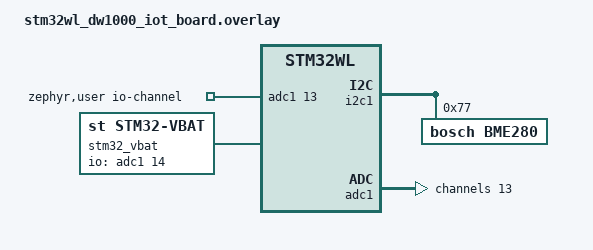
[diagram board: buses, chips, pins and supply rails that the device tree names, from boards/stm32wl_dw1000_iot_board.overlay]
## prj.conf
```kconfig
# Debugger support
CONFIG_UART_CONSOLE=y
CONFIG_CONSOLE=y

# Communication Bus Support
CONFIG_GPIO=y
CONFIG_SPI=y
CONFIG_I2C=y

# Hardware Support
CONFIG_ADC=y
CONFIG_SENSOR=y

# Counter RTC Support
CONFIG_COUNTER=y
CONFIG_HEAP_MEM_POOL_SIZE=256
CONFIG_COUNTER_RTC_STM32_SAVE_VALUE_BETWEEN_RESETS=y
CONFIG_COUNTER_RTC_STM32=y
CONFIG_COUNTER_RTC_STM32_CLOCK_LSE=y
CONFIG_COUNTER_RTC_STM32_CLOCK_LSI=n
CONFIG_POSIX_CLOCK=y

# LoRa Support
CONFIG_LORA=y

# LoraWAN Support
CONFIG_LORAWAN=y
CONFIG_LORAMAC_REGION_EU868=y
CONFIG_LORAWAN_APP_CLOCK_SYNC=y
CONFIG_LORAWAN_SERVICES=y
CONFIG_TEST_RANDOM_GENERATOR=y

# Stack Support
CONFIG_MAIN_STACK_SIZE=2048
CONFIG_SYSTEM_WORKQUEUE_STACK_SIZE=2048

# Flash Memory NVS Support
CONFIG_NVS=y
CONFIG_FLASH=y
CONFIG_FLASH_PAGE_LAYOUT=y
CONFIG_MPU_ALLOW_FLASH_WRITE=y
CONFIG_REBOOT=y
```

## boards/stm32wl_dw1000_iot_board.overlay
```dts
/*
 * Copyright (c) 2023
 * Regis Rousseau
 * Univ Lyon, INSA Lyon, Inria, CITI, EA3720
 * SPDX-License-Identifier: Apache-2.0
 */

/* configuration of ADC for geophone sensor */
/* adjust channel number according to pinmux in board.dts */
/* see datasheet Pinout Config pg 56/149 */
/* PB13 ADC_GSONE -> ADC_IN0 */

/ {
	zephyr,user {
		io-channels = <&adc1 13>;
		io-channels-names = "SENSOR";
	};

	aliases {
		rtc = &rtc;
	};

/* VBAT battery voltage monitoring */
/* internal ADC channnel of STM32, Px14 - see datasheet ADC part pg 42/149 */

	stm32_vbat: stm32vbat {
    compatible = "st,stm32-vbat";
    io-channels = <&adc1 14>;
    ratio = <3>;
    status = "okay";
	};
};

/* config of BME280 sensor (temperature and Humidity) on i2c bus */
/* address 0x77 --> Address Chip Select on high level (VDD) */

&i2c1 {
	status = "okay";
	bme280@77 {
		compatible = "bosch,bme280";
		reg = <0x77>;
	};
};

&adc1 {
	#address-cells = <1>;
	#size-cells = <0>;

	vref-mv = <3300>;
	status = "okay";
	channel@13 {
		reg = <13>;
		zephyr,gain = "ADC_GAIN_1";
		zephyr,reference = "ADC_REF_INTERNAL";
		zephyr,acquisition-time = <ADC_ACQ_TIME_DEFAULT>;
		zephyr,resolution = <12>;
	};
};
```

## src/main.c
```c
/*
 * Copyright (c) 2023
 * Regis Rousseau
 * Univ Lyon, INSA Lyon, Inria, CITI, EA3720
 * SPDX-License-Identifier: Apache-2.0
 */
 

#include <zephyr/device.h>
#include <zephyr/kernel.h>
#include <zephyr/logging/log.h>
#include <stdio.h>

#include "app_bme280.h"
#include "app_nvs.h"
#include "app_rtc.h"
#include "app_adc.h"
#include "app_vbat.h"
#include "app_lorawan.h"

void rtc_work_handler(struct k_work *work_rtc)
{
	printk("RTC handler called\n");

	const struct device *bme280_dev = NULL;
	const struct device *bat_dev = NULL;
	const struct device *timer_rtc_dev = NULL;

	app_rtc_handler(timer_rtc_dev);
	//app_bme280_handler(bme280_dev);
	//app_vbat_handler(bat_dev);
}
K_WORK_DEFINE(rtc_work, rtc_work_handler);

void rtc_timer_handler(struct k_timer *rtc_dum)
{
	k_work_submit(&rtc_work);
}
K_TIMER_DEFINE(rtc_timer, rtc_timer_handler, NULL);

void adc_work_handler(struct k_work *work_adc)
{
	printk("ADC handler called\n");
	uint16_t raw_val = app_adc_handler();
	uint8_t payload[2];

	payload[0] = raw_val >> 8;
	payload[1] = raw_val;
	
	printk("- MSB payload: %d, LSB payload: %d\n", payload[0], payload[1]);
}
K_WORK_DEFINE(adc_work, adc_work_handler);

void adc_timer_handler(struct k_timer *adc_dum)
{
    k_work_submit(&adc_work);
}
K_TIMER_DEFINE(adc_timer, adc_timer_handler, NULL);

int main(void)
{
	static struct nvs_fs fs;
	const struct device *bme280_dev = NULL;
	const struct device *bat_dev = NULL;
	const struct device *timer_rtc_dev = NULL;
	const struct device *lora_dev = NULL;

	time_t get_time;

	app_lorawan_init(lora_dev);
	app_nvs_init(&fs);
	app_rtc_init(timer_rtc_dev);
	app_bme280_init(bme280_dev);
	app_vbat_init(bat_dev);
	app_adc_init();
	printk("\n");
	
	get_time = app_lorawan_get_time(lora_dev);
	printk("\n");

	//k_timer_start(&rtc_timer, K_MSEC(1000), K_MSEC(1000));
	//k_timer_start(&adc_timer, K_MSEC(1000), K_MSEC(1000));
	return 0;
}
```

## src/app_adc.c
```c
/*
 * Copyright (c) 2023
 * Regis Rousseau
 * Univ Lyon, INSA Lyon, Inria, CITI, EA3720
 * SPDX-License-Identifier: Apache-2.0
 */

#include "app_adc.h"

uint16_t sp_buf_ch13;

static const struct adc_dt_spec adc_channels[] = {
	DT_FOREACH_PROP_ELEM(DT_PATH(zephyr_user), io_channels, DT_SPEC_AND_COMMA)
};

struct adc_sequence adc_ch13_seq = {
	.buffer 		= &sp_buf_ch13,
	.buffer_size	= sizeof(sp_buf_ch13),
};

int8_t app_adc_init(void)
{
	int8_t i = 0;

	if (!device_is_ready(adc_channels[i].dev)) {
		printk("ADC controller device %s not ready\n", adc_channels[i].dev->name);
		return 0;
	}
	printk("- found device: \"%s\", getting analog data\n", adc_channels[i].dev->name);
	return 0;
}

uint16_t app_adc_handler(void)
{
	int8_t err;
	int8_t i = 0;

	err = adc_channel_setup_dt(&adc_channels[i]);
	if (err < 0) {
		printk("could not setup channel %d. error: %d\n", i, err);
		return 0;
	}
	printk("- %s, channel %d: ", adc_channels[i].dev->name, adc_channels[i].channel_id);

	(void)adc_sequence_init_dt(&adc_channels[i], &adc_ch13_seq);
	err = adc_read(adc_channels[i].dev, &adc_ch13_seq);
	printk("%d", sp_buf_ch13);

	err = adc_raw_to_millivolts_dt(&adc_channels[i], &sp_buf_ch13);
	printk(" = %d mV\n", sp_buf_ch13);
	return sp_buf_ch13;
}
```

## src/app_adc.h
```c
/*
 * Copyright (c) 2023
 * Regis Rousseau
 * Univ Lyon, INSA Lyon, Inria, CITI, EA3720
 * SPDX-License-Identifier: Apache-2.0
 */

#ifndef APP_SENSOR_H
#define APP_SENSOR_H

#include <zephyr/kernel.h>
#include <zephyr/device.h>
#include <zephyr/devicetree.h>
#include <zephyr/drivers/adc.h>

#define DT_SPEC_AND_COMMA(node_id, prop, idx)   ADC_DT_SPEC_GET_BY_IDX(node_id, idx)

int8_t app_adc_init();
uint16_t app_adc_handler();
void adc_work_handler(struct k_work *work_adc);

#endif /* APP_SENSOR_H */
```

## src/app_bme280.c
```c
/*
 * Copyright (c) 2023
 * Regis Rousseau
 * Univ Lyon, INSA Lyon, Inria, CITI, EA3720
 * SPDX-License-Identifier: Apache-2.0
 */

 #include "app_bme280.h"
 #include "app_nvs.h"

int8_t app_bme280_init(const struct device *dev)
{
    dev = DEVICE_DT_GET_ANY(bosch_bme280);
    if (dev == NULL) {
        printk("error: no bme280 device found\n");
		return 0;
	}

    if (!device_is_ready(dev)) {
		printk("error: bme280 is not ready\n");
		return 0;
	}
    printk("- found device: \"%s\", getting bme280 data\n", dev->name);
    return 0;
}

int8_t app_bme280_handler(const struct device *dev)
{
    static struct nvs_fs fs;
    struct sensor_value temp;
    struct sensor_value hum;
    int8_t ret;

    dev = DEVICE_DT_GET_ANY(bosch_bme280);

	ret = sensor_sample_fetch(dev);
    if (ret < 0 && ret != -EBADMSG) { 
	    printk("bme280 device sample is not up to date. error: %d\n", ret);
	    return 0;
    }

	ret = sensor_channel_get(dev, SENSOR_CHAN_AMBIENT_TEMP, &temp);
    if (ret < 0) {
        printk("can't read sensor channels. error: %d\n", ret);
	    return 0;
    }
    //nvs_write(&fs, BME280_TEMP_ID, &temp, sizeof(temp));

	ret = sensor_channel_get(dev, SENSOR_CHAN_HUMIDITY, &hum);
    if (ret < 0) {
        printk("can't read sensor channels. error: %d\n", ret);
	    return 0;
    }
    //nvs_write(&fs, BME280_HUM_ID, &hum, sizeof(hum));
    printk("- temp: %d.%2d degC; hum: %d.%2d percent\n", temp.val1, temp.val2, hum.val1, hum.val2);
    return 0;
}
```

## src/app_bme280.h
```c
/*
 * Copyright (c) 2023
 * Regis Rousseau
 * Univ Lyon, INSA Lyon, Inria, CITI, EA3720
 * SPDX-License-Identifier: Apache-2.0
 */

#ifndef APP_BME280_H
#define APP_BME280_H

#include <zephyr/kernel.h>
#include <zephyr/device.h>
#include <zephyr/devicetree.h>
#include <zephyr/drivers/sensor.h>

int8_t app_bme280_init(const struct device *dev);
int8_t app_bme280_handler(const struct device *dev);

#endif /* APP_BME280_H */
```

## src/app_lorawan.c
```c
/*
 * Copyright (c) 2023
 * Regis Rousseau
 * Univ Lyon, INSA Lyon, Inria, CITI, EA3720
 * SPDX-License-Identifier: Apache-2.0
 */

#include "app_lorawan.h"
#include "app_nvs.h"


// downlink callback
static void dl_callback(uint8_t port, bool data_pending, int16_t rssi, int8_t snr, uint8_t len, const uint8_t *data)
{
	printk("port: %d, pending: %d, RSSI: %ddB, SNR: %dBm\n", port, data_pending, rssi, snr);
}

// ADR change callback
static void lorwan_datarate_changed(enum lorawan_datarate dr)
{
	uint8_t unused, max_size;

	lorawan_get_payload_sizes(&unused, &max_size);
	printk("new datarate: DR_%d, max payload: %d\n", dr, max_size);
}

uint8_t app_lorawan_init(const struct device *dev)
{
    static struct nvs_fs fs;
	
	struct lorawan_join_config join_cfg;
	uint16_t dev_nonce = 0;
	uint32_t random = 0;

	uint8_t dev_eui[] = LORAWAN_DEV_EUI;
	uint8_t join_eui[] = LORAWAN_JOIN_EUI;
	uint8_t app_key[] = LORAWAN_APP_KEY;

    int8_t ret = 0;
    ssize_t err = 0;
	int8_t itr = 1;

    app_nvs_init(&fs);
	app_nvs_init_param(&fs, NVS_DEVNONCE_ID, &dev_nonce);
	
	printk("starting Loarawan node\n");
	dev = DEVICE_DT_GET(DT_ALIAS(lora0));
	if (!device_is_ready(dev)) {
		printk("%s: device not ready\n", dev->name);
		return 0;
	}

	printk("starting Lorawan stack\n");
	ret = lorawan_start();
	if (ret < 0) {
		printk("lorawan_start failed. error: %d\n", ret);
		return 0;
	}

	// enable ADR
    lorawan_enable_adr(true);

	// enable callbacks
	struct lorawan_downlink_cb downlink_cb = {
		.port = LW_RECV_PORT_ANY,
		.cb = dl_callback
	};
	lorawan_register_downlink_callback(&downlink_cb);
	lorawan_register_dr_changed_callback(lorwan_datarate_changed);

	//random = sys_rand32_get();
	//dev_nonce = random & 0x0000FFFF;

	join_cfg.mode = LORAWAN_ACT_OTAA;
	join_cfg.dev_eui = dev_eui;
	join_cfg.otaa.join_eui = join_eui;
	join_cfg.otaa.app_key = app_key;
	join_cfg.otaa.nwk_key = app_key;
	join_cfg.otaa.dev_nonce = dev_nonce;

	do {
		printk("joining network using OTAA, dev nonce %d, attempt %d\n", join_cfg.otaa.dev_nonce, itr++);
		ret = lorawan_join(&join_cfg);
		if (ret < 0) {
			if ((ret =-ETIMEDOUT)) {
				printk("timed-out waiting for response.\n");
			} else {
				printk("join failed. error: %d\n", ret);
			}
		} else {
			printk("join successful.\n");
		}

		dev_nonce++;
		//random = sys_rand32_get();
		//dev_nonce = random & 0x0000FFFF;
		join_cfg.otaa.dev_nonce = dev_nonce;

		// save value away in Non-Volatile Storage.
		err = nvs_write(&fs, NVS_DEVNONCE_ID, &dev_nonce, sizeof(dev_nonce));
		if (err < 0) {
			printk("NVS: failed to write id %d (%d)\n", NVS_DEVNONCE_ID, err);
		}

		if (ret < 0) {
			// If failed, wait before re-trying.
			k_sleep(K_MSEC(5000));
		}
	} while (ret != 0);
    return 0;
}

time_t app_lorawan_get_time(const struct device *dev)
{
    int8_t ret;

    uint32_t gps_time;
	time_t unix_time;
	struct tm timeinfo;
    char buf[32];
    
    dev = DEVICE_DT_GET(DT_ALIAS(lora0));
	if (!device_is_ready(dev)) {
		printk("%s: device not ready\n", dev->name);
		return 0;
	}

    ret = lorawan_start();
	if (ret < 0) {
		printk("lorawan_start failed. error: %d\n", ret);
		return 0;
	}

    lorawan_clock_sync_run();
    ret = lorawan_clock_sync_get(&gps_time);
	if (ret != 0) { 
			printk("lorawan_clock_sync_get failed. error: %d\n", ret);
		} else {
			/* 
			 * The difference in time between UNIX (epoch Jan 1st 1970) and
			 * GPS (epoch Jan 6th 1980) is 315964800 seconds. This is a bit
			 * of a fudge as it doesn't take into account leap seconds and 
			 * hence is out by roughly 18 seconds. 
			 *
			 */
			unix_time = gps_time - 315964800;
			localtime_r(&unix_time, &timeinfo);
			strftime(buf, sizeof(buf), "%A %B %d %Y %I:%M:%S %p %Z", &timeinfo);
			printk("GPS Time: %lu, UTC Time: %s", gps_time, buf);
		}
    return unix_time;
}
```

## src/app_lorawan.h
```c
/*
 * Copyright (c) 2023
 * Regis Rousseau
 * Univ Lyon, INSA Lyon, Inria, CITI, EA3720
 * SPDX-License-Identifier: Apache-2.0
 */

#ifndef APP_LORAWAN__H
#define APP_LORAWAN__H

#include <zephyr/device.h>
#include <zephyr/kernel.h>

#include <zephyr/random/rand32.h>
#include <zephyr/lorawan/lorawan.h>

#include <time.h>

/* customize based on network configuration */
/* put this parameters in TTN application */

#define LORAWAN_DEV_EUI			{ 0x70, 0xB3, 0xD5, 0x7E, 0xD0, 0x06, 0x21, 0xA5 }
#define LORAWAN_JOIN_EUI		{ 0x00, 0x00, 0x00, 0x00, 0x00, 0x00, 0x00, 0x00 }
#define LORAWAN_APP_KEY			{ 0xC7, 0x32, 0x0F, 0x37, 0xFF, 0x62, 0xE0, 0xA8, 0x4E, 0x94, 0xC1, 0x9C, 0x27, 0x2B, 0xFA, 0x4C }

uint8_t app_lorawan_init(const struct device *dev);
time_t app_lorawan_get_time(const struct device *dev);

#endif /* APP_LORAWAN__H */
```

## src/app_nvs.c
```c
/*
 * Copyright (c) 2023
 * Regis Rousseau
 * Univ Lyon, INSA Lyon, Inria, CITI, EA3720
 * SPDX-License-Identifier: Apache-2.0
 */

#include "app_nvs.h"

int8_t app_nvs_init(struct nvs_fs *fs)
{
	struct flash_pages_info info;
	int ret;

	fs->flash_device = NVS_PARTITION_DEVICE;
	if (!device_is_ready(fs->flash_device)) {
		printk("flash device %s is not ready\n", fs->flash_device->name);
		return 0;
	}

	fs->offset = NVS_PARTITION_OFFSET;
	ret = flash_get_page_info_by_offs(fs->flash_device, fs->offset, &info);
	if (ret) {
		printk("unable to get page info. error: %d\n", ret);
		return 0;
	}

	fs->sector_size = info.size;
	if (!fs->sector_size || fs->sector_size % info.size) {
		printk("invalid sector size\n");
		return -EINVAL;
	}

	fs->sector_count = 2U;
	ret = nvs_mount(fs);
	if (ret) {
		printk("flash init failed. error: %d\n", ret);
		return 0;
	}

#ifdef NVS_CLEAR
	ret = nvs_clear(fs);
	if (ret) {
		printk("flash clear failed. error: %d\n", ret);
		return 0;
	} else {
		printk("cleared NVS from flash\n");
	}
#endif
	return 0;
}

int8_t app_nvs_init_param(struct nvs_fs *fs, uint16_t id, void *data)
{
	int ret;

	ret = nvs_read(fs, id, data, sizeof(data));
	if (ret > 0) {
		printk("ID: %d, address: %s\n", id, data);
	} else {
		printk("no address found, adding %s at id %d\n", data, id);
		(void)nvs_write(fs, id, data, sizeof(data));	
	}
	return 0;
}
```

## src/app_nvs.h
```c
/*
 * Copyright (c) 2023
 * Regis Rousseau
 * Univ Lyon, INSA Lyon, Inria, CITI, EA3720
 * SPDX-License-Identifier: Apache-2.0
 */

#ifndef APP_NVS_H
#define APP_NVS_H

#include <zephyr/kernel.h>
#include <zephyr/device.h>
#include <zephyr/devicetree.h>
#include <zephyr/fs/nvs.h>
#include <zephyr/drivers/flash.h>
#include <zephyr/storage/flash_map.h>

#define NVS_PARTITION			storage_partition
#define NVS_PARTITION_DEVICE	FIXED_PARTITION_DEVICE(NVS_PARTITION)
#define NVS_PARTITION_OFFSET	FIXED_PARTITION_OFFSET(NVS_PARTITION)
#define NVS_DEVNONCE_ID         0

#define TIMER_RTC_ID            1
#define STM32_VBAT_ID           2
#define BME280_TEMP_ID          3
#define BME280_HUM_ID           4

int8_t app_nvs_init(struct nvs_fs *fs);
int8_t app_nvs_init_param(struct nvs_fs *fs, uint16_t id, void *data);

#endif /* APP_NVS_H */
```

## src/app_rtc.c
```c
/*
 * Copyright (c) 2023
 * Regis Rousseau
 * Univ Lyon, INSA Lyon, Inria, CITI, EA3720
 * SPDX-License-Identifier: Apache-2.0
 */

#include "app_rtc.h"
#include "app_nvs.h"

int8_t app_rtc_init(const struct device *dev)
{
    dev = DEVICE_DT_GET(TIMER);   // get sensor device

    if (dev == NULL) {
        printk("no timer device found. error: %d\n", dev);
		return 0;
	}
    if (!device_is_ready(dev)) {
		printk("timer is not ready. error: %d\n", dev);
		return 0;
	}
    printk("- found device: \"%s\", getting rtc time\n", dev->name);
    return 0;
}

int8_t app_rtc_handler(const struct device *dev)
{
    static struct nvs_fs fs;
    int8_t ret = 0;

    time_t compile_timestamp = 1678984720;//11699437198; // timestamp local time GMT+1
    struct tm   ttm;
    //struct timespec time_now_ts;
    
    dev = DEVICE_DT_GET(TIMER);

    uint32_t *ticks = k_malloc(sizeof(uint32_t));
    memset(ticks, 0, sizeof(uint32_t));

    ret = counter_get_value(dev, ticks);

    if(ret < 0) {
        printk("counter get value failed.\n\r");
        return 0;
    } else {
            time_t time_now = compile_timestamp + *ticks + 3600;
            ttm = * gmtime(&time_now);
            printk("counter value: %d\n\r", *ticks);
            printk("current time: %02d:%02d:%02d\n\r", ttm.tm_hour, ttm.tm_min, ttm.tm_sec);
        }
    //nvs_write(&fs, TIMER_RTC_ID , &ttm, sizeof(ttm));
    return 0;
}
```

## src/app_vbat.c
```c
/*
 * Copyright (c) 2023
 * Regis Rousseau
 * Univ Lyon, INSA Lyon, Inria, CITI, EA3720
 * SPDX-License-Identifier: Apache-2.0
 */

#include "app_vbat.h"
#include "app_nvs.h"

int8_t app_vbat_init(const struct device *dev)
{
    dev = DEVICE_DT_GET_ONE(st_stm32_vbat);
    if (dev == NULL) {
        printk("error: no stm32 vbat device found\n");
		return 0;
	}

    if (!device_is_ready(dev)) {
		printk("error: stm32 vbat is not ready\n");
		return 0;
	}
    printk("- found device: \"%s\", getting vbat data\n", dev->name);
    return 0;
}

int8_t app_vbat_handler(const struct device *dev)
{
    static struct nvs_fs fs;
    struct sensor_value sp_buf_ch14;
    int8_t ret;
    int8_t i = 0;
    float val_mv;

    dev = DEVICE_DT_GET_ONE(st_stm32_vbat);

	ret = sensor_sample_fetch(dev);
    if (ret < 0 && ret != -EBADMSG) {        
	    printk("error: stm32 vbat sample is not up to date\n");
	    return 0;
    }

    ret = sensor_channel_get(dev, SENSOR_CHAN_VOLTAGE, &sp_buf_ch14);
    if (ret < 0) {
        printk("error: can't read sensor channels\n");
	    return 0;
    }
    //nvs_write(&fs, STM32_VBAT_ID, &bat, sizeof(bat));
    printk("- %s, current voltage: %d.%2d\n", dev->name, sp_buf_ch14.val1, sp_buf_ch14.val2);
    return 0;
}
```

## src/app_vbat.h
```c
/*
 * Copyright (c) 2023
 * Regis Rousseau
 * Univ Lyon, INSA Lyon, Inria, CITI, EA3720
 * SPDX-License-Identifier: Apache-2.0
 */

#ifndef APP_STM32_VBAT_H
#define APP_STM32_VBAT_H

#include <zephyr/kernel.h>
#include <zephyr/device.h>
#include <zephyr/devicetree.h>
#include <zephyr/drivers/sensor.h>

int8_t app_vbat_init(const struct device *dev);
int8_t app_vbat_handler(const struct device *dev);

#endif /* APP_STM32_VBAT_H */
```
